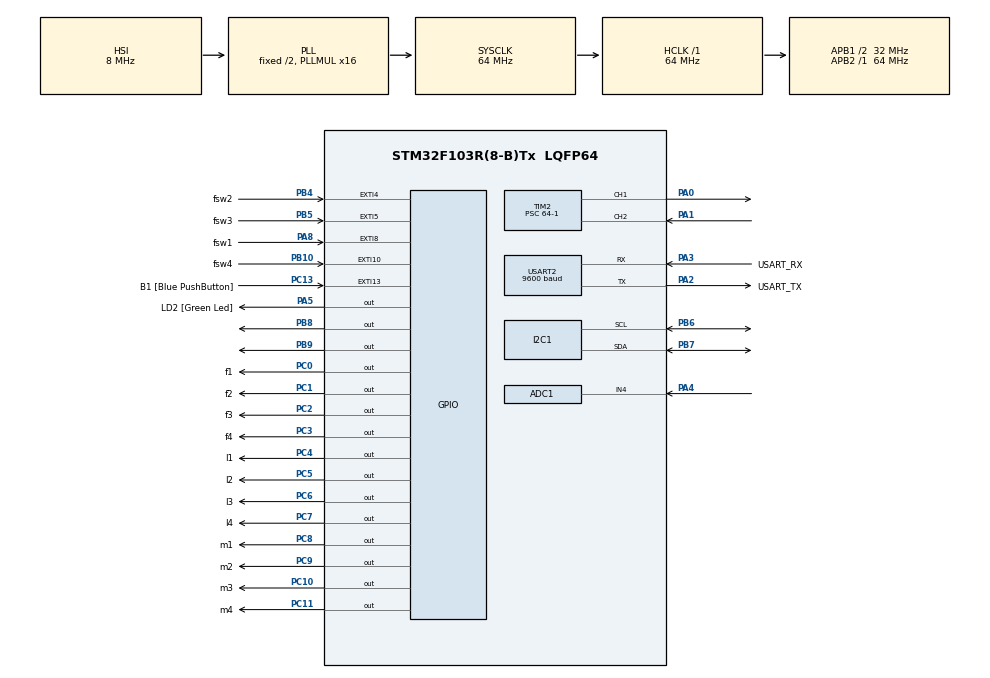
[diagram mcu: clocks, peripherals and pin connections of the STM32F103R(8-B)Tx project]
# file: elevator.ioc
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ADC1.Channel-0\#ChannelRegularConversion=ADC_CHANNEL_4
ADC1.ContinuousConvMode=ENABLE
ADC1.NbrOfConversionFlag=1
ADC1.Rank-0\#ChannelRegularConversion=1
ADC1.SamplingTime-0\#ChannelRegularConversion=ADC_SAMPLETIME_239CYCLES_5
ADC1.master=1
Mcu.Family=STM32F1
Mcu.Name=STM32F103R(8-B)Tx
Mcu.Package=LQFP64
NVIC.EXTI15_10_IRQn=true\:0\:0\:false\:false\:true\:true\:true\:true
NVIC.EXTI4_IRQn=true\:0\:0\:false\:false\:true\:true\:true\:true
NVIC.EXTI9_5_IRQn=true\:0\:0\:false\:false\:true\:true\:true\:true
NVIC.PriorityGroup=NVIC_PRIORITYGROUP_4
NVIC.TIM1_BRK_IRQn=true\:0\:0\:false\:false\:true\:true\:true\:true
NVIC.TIM1_CC_IRQn=true\:0\:0\:false\:false\:true\:true\:true\:true
NVIC.TIM1_TRG_COM_IRQn=true\:0\:0\:false\:false\:true\:true\:true\:true
NVIC.TIM1_UP_IRQn=true\:0\:0\:false\:false\:true\:true\:true\:true
NVIC.TIM2_IRQn=true\:0\:0\:false\:false\:true\:true\:true\:true
PA0-WKUP.Signal=S_TIM2_CH1_ETR
PA1.Signal=S_TIM2_CH2
PA13.GPIO_Label=TMS
PA13.Mode=Serial_Wire
PA13.Signal=SYS_JTMS-SWDIO
PA14.GPIO_Label=TCK
PA14.Mode=Serial_Wire
PA14.Signal=SYS_JTCK-SWCLK
PA2.GPIO_Label=USART_TX
PA2.GPIO_Mode=GPIO_MODE_AF_PP
PA2.GPIO_PuPd=GPIO_NOPULL
PA2.GPIO_Speed=GPIO_SPEED_FREQ_LOW
PA2.Mode=Asynchronous
PA2.Signal=USART2_TX
PA3.GPIO_Label=USART_RX
PA3.GPIO_Mode=GPIO_MODE_AF_PP
PA3.GPIO_PuPd=GPIO_NOPULL
PA3.GPIO_Speed=GPIO_SPEED_FREQ_LOW
PA3.Mode=Asynchronous
PA3.Signal=USART2_RX
PA4.Signal=ADCx_IN4
PA5.GPIO_Label=LD2 [Green Led]
PA5.GPIO_ModeDefaultOutputPP=GPIO_MODE_OUTPUT_PP
PA5.GPIO_PuPd=GPIO_NOPULL
PA5.GPIO_Speed=GPIO_SPEED_FREQ_LOW
PA5.Signal=GPIO_Output
PA8.GPIO_Label=fsw1
PA8.GPIO_ModeDefaultEXTI=GPIO_MODE_IT_FALLING
PA8.GPIO_PuPd=GPIO_NOPULL
PA8.Signal=GPXTI8
PB10.GPIO_Label=fsw4
PB10.GPIO_ModeDefaultEXTI=GPIO_MODE_IT_FALLING
PB10.GPIO_PuPd=GPIO_NOPULL
PB10.Signal=GPXTI10
PB3.GPIO_Label=SWO
PB3.Signal=SYS_JTDO-TRACESWO
PB4.GPIO_Label=fsw2
PB4.GPIO_ModeDefaultEXTI=GPIO_MODE_IT_FALLING
PB4.GPIO_PuPd=GPIO_NOPULL
PB4.Signal=GPXTI4
PB5.GPIO_Label=fsw3
PB5.GPIO_ModeDefaultEXTI=GPIO_MODE_IT_FALLING
PB5.GPIO_PuPd=GPIO_NOPULL
PB5.Signal=GPXTI5
PB6.Mode=I2C
PB6.Signal=I2C1_SCL
PB7.Mode=I2C
PB7.Signal=I2C1_SDA
PB8.Signal=GPIO_Output
PB9.Signal=GPIO_Output
PC0.GPIO_Label=f1
PC0.Signal=GPIO_Output
PC1.GPIO_Label=f2
PC1.Signal=GPIO_Output
PC10.GPIO_Label=m3
PC10.Signal=GPIO_Output
PC11.GPIO_Label=m4
PC11.Signal=GPIO_Output
PC13-TAMPER-RTC.GPIO_Label=B1 [Blue PushButton]
PC13-TAMPER-RTC.GPIO_PuPd=GPIO_NOPULL
PC13-TAMPER-RTC.Signal=GPXTI13
PC14-OSC32_IN.Mode=LSE-External-Oscillator
PC14-OSC32_IN.Signal=RCC_OSC32_IN
PC15-OSC32_OUT.Mode=LSE-External-Oscillator
PC15-OSC32_OUT.Signal=RCC_OSC32_OUT
PC2.GPIO_Label=f3
PC2.Signal=GPIO_Output
PC3.GPIO_Label=f4
PC3.Signal=GPIO_Output
PC4.GPIO_Label=l1
PC4.Signal=GPIO_Output
PC5.GPIO_Label=l2
PC5.Signal=GPIO_Output
PC6.GPIO_Label=l3
PC6.Signal=GPIO_Output
PC7.GPIO_Label=l4
PC7.Signal=GPIO_Output
PC8.GPIO_Label=m1
PC8.Signal=GPIO_Output
PC9.GPIO_Label=m2
PC9.Signal=GPIO_Output
PD0-OSC_IN.Mode=HSE-External-Clock-Source
PD0-OSC_IN.Signal=RCC_OSC_IN
PD1-OSC_OUT.Mode=HSE-External-Clock-Source
PD1-OSC_OUT.Signal=RCC_OSC_OUT
ProjectManager.HeapSize=0x200
ProjectManager.StackSize=0x400
ProjectManager.TargetToolchain=STM32CubeIDE
RCC.ADCPresc=RCC_ADCPCLK2_DIV8
RCC.AHBFreq_Value=64000000
RCC.APB1CLKDivider=RCC_HCLK_DIV2
RCC.APB1Freq_Value=32000000
RCC.APB1TimFreq_Value=64000000
RCC.APB2Freq_Value=64000000
RCC.APB2TimFreq_Value=64000000
RCC.HCLKFreq_Value=64000000
RCC.PLLMUL=RCC_PLL_MUL16
RCC.RTCClockSelection=RCC_RTCCLKSOURCE_LSE
RCC.SYSCLKFreq_VALUE=64000000
RCC.SYSCLKSource=RCC_SYSCLKSOURCE_PLLCLK
RCC.USBFreq_Value=64000000
SH.ADCx_IN4.0=ADC1_IN4,IN4
SH.S_TIM2_CH1_ETR.0=TIM2_CH1,PWM Generation1 CH1
SH.S_TIM2_CH2.0=TIM2_CH2,Input_Capture2_from_TI2
TIM1.Period=2000-1
TIM1.Prescaler=64-1
TIM2.Channel-Input_Capture2_from_TI2=TIM_CHANNEL_2
TIM2.Channel-PWM\ Generation1\ CH1=TIM_CHANNEL_1
TIM2.Period=20000-1
TIM2.Prescaler=64-1
TIM2.Pulse-PWM\ Generation1\ CH1=200-1
USART2.BaudRate=9600
USART2.VirtualMode=VM_ASYNC
VP_TIM1_VS_ClockSourceINT.Mode=Internal
VP_TIM2_VS_ClockSourceINT.Mode=Internal
board=NUCLEO-F103RB

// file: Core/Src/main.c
/* USER CODE BEGIN Header */
/**
  ******************************************************************************
  * @file           : main.c
  * @brief          : Main program body
  ******************************************************************************
  * @attention
  *
  * Copyright (c) 2022 STMicroelectronics.
  * All rights reserved.
  *
  * This software is licensed under terms that can be found in the LICENSE file
  * in the root directory of this software component.
  * If no LICENSE file comes with this software, it is provided AS-IS.
  *
  ******************************************************************************
  */
/* USER CODE END Header */
#include "main.h"

/* USER CODE BEGIN Includes */
#include <stdio.h>
#include "i2c-lcd.h"
/* USER CODE END Includes */

 ADC_HandleTypeDef hadc1;

I2C_HandleTypeDef hi2c1;

TIM_HandleTypeDef htim1;
TIM_HandleTypeDef htim2;

UART_HandleTypeDef huart2;

void SystemClock_Config(void);
static void MX_GPIO_Init(void);
static void MX_USART2_UART_Init(void);
static void MX_TIM2_Init(void);
static void MX_I2C1_Init(void);
static void MX_TIM1_Init(void);
static void MX_ADC1_Init(void);
/* USER CODE BEGIN PFP */
#ifdef __GNUC__
#define PUTCHAR_PROTOTYPE
int __io_putchar(int ch)
#else
#define PUTCHAR_PROTOTYPE
int fputc(int ch, FILE *f)
#endif
PUTCHAR_PROTOTYPE
{
  HAL_UART_Transmit(&huart2, (uint8_t *)&ch, 1, 0xFFFF);
  return ch;
}

void roll(uint8_t i);
void show_dot(uint16_t roll_d);
void ready();
/* USER CODE END PFP */

int main(void)
{

  /* MCU Configuration--------------------------------------------------------*/

  /* Reset of all peripherals, Initializes the Flash interface and the Systick. */
  HAL_Init();

  /* Configure the system clock */
  SystemClock_Config();

  /* Initialize all configured peripherals */
  MX_GPIO_Init();
  MX_USART2_UART_Init();
  MX_TIM2_Init();
  MX_I2C1_Init();
  MX_TIM1_Init();
  MX_ADC1_Init();
  /* USER CODE BEGIN 2 */
  HAL_TIM_Base_Start_IT(&htim1);
  HAL_TIM_PWM_Start(&htim2, TIM_CHANNEL_1);
  HAL_TIM_PWM_Start_IT(&htim2, TIM_CHANNEL_2);
  HAL_ADC_Start(&hadc1);

  lcd_init();
  ready();

  HAL_GPIO_WritePin(GPIOC, f1_Pin, 1);
  HAL_GPIO_WritePin(GPIOC, 0xf-f1_Pin, 0);
  HAL_GPIO_WritePin(GPIOC, l1_Pin, 1);
  HAL_GPIO_WritePin(GPIOC, 0xf0-l1_Pin, 0);
  HAL_GPIO_WritePin(GPIOB, GPIO_PIN_8,0);

  /* USER CODE END 2 */

  /* Infinite loop */
  while (1)
  {

  }
}

void SystemClock_Config(void)
{
  RCC_OscInitTypeDef RCC_OscInitStruct = {0};
  RCC_ClkInitTypeDef RCC_ClkInitStruct = {0};
  RCC_PeriphCLKInitTypeDef PeriphClkInit = {0};

  /** Initializes the RCC Oscillators according to the specified parameters
  * in the RCC_OscInitTypeDef structure.
  */
  RCC_OscInitStruct.OscillatorType = RCC_OSCILLATORTYPE_HSI;
  RCC_OscInitStruct.HSIState = RCC_HSI_ON;
  RCC_OscInitStruct.HSICalibrationValue = RCC_HSICALIBRATION_DEFAULT;
  RCC_OscInitStruct.PLL.PLLState = RCC_PLL_ON;
  RCC_OscInitStruct.PLL.PLLSource = RCC_PLLSOURCE_HSI_DIV2;
  RCC_OscInitStruct.PLL.PLLMUL = RCC_PLL_MUL16;
  if (HAL_RCC_OscConfig(&RCC_OscInitStruct) != HAL_OK)
  {
    Error_Handler();
  }

  /** Initializes the CPU, AHB and APB buses clocks
  */
  RCC_ClkInitStruct.ClockType = RCC_CLOCKTYPE_HCLK|RCC_CLOCKTYPE_SYSCLK
                              |RCC_CLOCKTYPE_PCLK1|RCC_CLOCKTYPE_PCLK2;
  RCC_ClkInitStruct.SYSCLKSource = RCC_SYSCLKSOURCE_PLLCLK;
  RCC_ClkInitStruct.AHBCLKDivider = RCC_SYSCLK_DIV1;
  RCC_ClkInitStruct.APB1CLKDivider = RCC_HCLK_DIV2;
  RCC_ClkInitStruct.APB2CLKDivider = RCC_HCLK_DIV1;

  if (HAL_RCC_ClockConfig(&RCC_ClkInitStruct, FLASH_LATENCY_2) != HAL_OK)
  {
    Error_Handler();
  }
  PeriphClkInit.PeriphClockSelection = RCC_PERIPHCLK_ADC;
  PeriphClkInit.AdcClockSelection = RCC_ADCPCLK2_DIV8;
  if (HAL_RCCEx_PeriphCLKConfig(&PeriphClkInit) != HAL_OK)
  {
    Error_Handler();
  }
}

static void MX_ADC1_Init(void)
{

  ADC_ChannelConfTypeDef sConfig = {0};

  /** Common config
  */
  hadc1.Instance = ADC1;
  hadc1.Init.ScanConvMode = ADC_SCAN_DISABLE;
  hadc1.Init.ContinuousConvMode = ENABLE;
  hadc1.Init.DiscontinuousConvMode = DISABLE;
  hadc1.Init.ExternalTrigConv = ADC_SOFTWARE_START;
  hadc1.Init.DataAlign = ADC_DATAALIGN_RIGHT;
  hadc1.Init.NbrOfConversion = 1;
  if (HAL_ADC_Init(&hadc1) != HAL_OK)
  {
    Error_Handler();
  }

  /** Configure Regular Channel
  */
  sConfig.Channel = ADC_CHANNEL_4;
  sConfig.Rank = ADC_REGULAR_RANK_1;
  sConfig.SamplingTime = ADC_SAMPLETIME_239CYCLES_5;
  if (HAL_ADC_ConfigChannel(&hadc1, &sConfig) != HAL_OK)
  {
    Error_Handler();
  }

}

static void MX_I2C1_Init(void)
{

  hi2c1.Instance = I2C1;
  hi2c1.Init.ClockSpeed = 100000;
  hi2c1.Init.DutyCycle = I2C_DUTYCYCLE_2;
  hi2c1.Init.OwnAddress1 = 0;
  hi2c1.Init.AddressingMode = I2C_ADDRESSINGMODE_7BIT;
  hi2c1.Init.DualAddressMode = I2C_DUALADDRESS_DISABLE;
  hi2c1.Init.OwnAddress2 = 0;
  hi2c1.Init.GeneralCallMode = I2C_GENERALCALL_DISABLE;
  hi2c1.Init.NoStretchMode = I2C_NOSTRETCH_DISABLE;
  if (HAL_I2C_Init(&hi2c1) != HAL_OK)
  {
    Error_Handler();
  }

}

static void MX_TIM1_Init(void)
{

  TIM_ClockConfigTypeDef sClockSourceConfig = {0};
  TIM_MasterConfigTypeDef sMasterConfig = {0};

  htim1.Instance = TIM1;
  htim1.Init.Prescaler = 64-1;
  htim1.Init.CounterMode = TIM_COUNTERMODE_UP;
  htim1.Init.Period = 2000-1;
  htim1.Init.ClockDivision = TIM_CLOCKDIVISION_DIV1;
  htim1.Init.RepetitionCounter = 0;
  htim1.Init.AutoReloadPreload = TIM_AUTORELOAD_PRELOAD_DISABLE;
  if (HAL_TIM_Base_Init(&htim1) != HAL_OK)
  {
    Error_Handler();
  }
  sClockSourceConfig.ClockSource = TIM_CLOCKSOURCE_INTERNAL;
  if (HAL_TIM_ConfigClockSource(&htim1, &sClockSourceConfig) != HAL_OK)
  {
    Error_Handler();
  }
  sMasterConfig.MasterOutputTrigger = TIM_TRGO_RESET;
  sMasterConfig.MasterSlaveMode = TIM_MASTERSLAVEMODE_DISABLE;
  if (HAL_TIMEx_MasterConfigSynchronization(&htim1, &sMasterConfig) != HAL_OK)
  {
    Error_Handler();
  }

}

static void MX_TIM2_Init(void)
{

  TIM_ClockConfigTypeDef sClockSourceConfig = {0};
  TIM_MasterConfigTypeDef sMasterConfig = {0};
  TIM_OC_InitTypeDef sConfigOC = {0};
  TIM_IC_InitTypeDef sConfigIC = {0};

  htim2.Instance = TIM2;
  htim2.Init.Prescaler = 64-1;
  htim2.Init.CounterMode = TIM_COUNTERMODE_UP;
  htim2.Init.Period = 10000-1;
  htim2.Init.ClockDivision = TIM_CLOCKDIVISION_DIV1;
  htim2.Init.AutoReloadPreload = TIM_AUTORELOAD_PRELOAD_DISABLE;
  if (HAL_TIM_Base_Init(&htim2) != HAL_OK)
  {
    Error_Handler();
  }
  sClockSourceConfig.ClockSource = TIM_CLOCKSOURCE_INTERNAL;
  if (HAL_TIM_ConfigClockSource(&htim2, &sClockSourceConfig) != HAL_OK)
  {
    Error_Handler();
  }
  if (HAL_TIM_PWM_Init(&htim2) != HAL_OK)
  {
    Error_Handler();
  }
  if (HAL_TIM_IC_Init(&htim2) != HAL_OK)
  {
    Error_Handler();
  }
  sMasterConfig.MasterOutputTrigger = TIM_TRGO_RESET;
  sMasterConfig.MasterSlaveMode = TIM_MASTERSLAVEMODE_DISABLE;
  if (HAL_TIMEx_MasterConfigSynchronization(&htim2, &sMasterConfig) != HAL_OK)
  {
    Error_Handler();
  }
  sConfigOC.OCMode = TIM_OCMODE_PWM1;
  sConfigOC.Pulse = 100-1;
  sConfigOC.OCPolarity = TIM_OCPOLARITY_HIGH;
  sConfigOC.OCFastMode = TIM_OCFAST_DISABLE;
  if (HAL_TIM_PWM_ConfigChannel(&htim2, &sConfigOC, TIM_CHANNEL_1) != HAL_OK)
  {
    Error_Handler();
  }
  sConfigIC.ICPolarity = TIM_INPUTCHANNELPOLARITY_RISING;
  sConfigIC.ICSelection = TIM_ICSELECTION_DIRECTTI;
  sConfigIC.ICPrescaler = TIM_ICPSC_DIV1;
  sConfigIC.ICFilter = 0;
  if (HAL_TIM_IC_ConfigChannel(&htim2, &sConfigIC, TIM_CHANNEL_2) != HAL_OK)
  {
    Error_Handler();
  }
  HAL_TIM_MspPostInit(&htim2);

}

static void MX_USART2_UART_Init(void)
{

  huart2.Instance = USART2;
  huart2.Init.BaudRate = 9600;
  huart2.Init.WordLength = UART_WORDLENGTH_8B;
  huart2.Init.StopBits = UART_STOPBITS_1;
  huart2.Init.Parity = UART_PARITY_NONE;
  huart2.Init.Mode = UART_MODE_TX_RX;
  huart2.Init.HwFlowCtl = UART_HWCONTROL_NONE;
  huart2.Init.OverSampling = UART_OVERSAMPLING_16;
  if (HAL_UART_Init(&huart2) != HAL_OK)
  {
    Error_Handler();
  }

}

static void MX_GPIO_Init(void)
{
  GPIO_InitTypeDef GPIO_InitStruct = {0};

  /* GPIO Ports Clock Enable */
  __HAL_RCC_GPIOC_CLK_ENABLE();
  __HAL_RCC_GPIOD_CLK_ENABLE();
  __HAL_RCC_GPIOA_CLK_ENABLE();
  __HAL_RCC_GPIOB_CLK_ENABLE();

  /*Configure GPIO pin Output Level */
  HAL_GPIO_WritePin(GPIOC, f1_Pin|f2_Pin|f3_Pin|f4_Pin
                          |l1_Pin|l2_Pin|l3_Pin|l4_Pin
                          |m1_Pin|m2_Pin|m3_Pin|m4_Pin, GPIO_PIN_RESET);

  /*Configure GPIO pin Output Level */
  HAL_GPIO_WritePin(LD2_GPIO_Port, LD2_Pin, GPIO_PIN_RESET);

  /*Configure GPIO pin Output Level */
  HAL_GPIO_WritePin(GPIOB, GPIO_PIN_8|GPIO_PIN_9, GPIO_PIN_RESET);

  /*Configure GPIO pin : B1_Pin */
  GPIO_InitStruct.Pin = B1_Pin;
  GPIO_InitStruct.Mode = GPIO_MODE_IT_RISING;
  GPIO_InitStruct.Pull = GPIO_NOPULL;
  HAL_GPIO_Init(B1_GPIO_Port, &GPIO_InitStruct);

  /*Configure GPIO pins : f1_Pin f2_Pin f3_Pin f4_Pin
                           l1_Pin l2_Pin l3_Pin l4_Pin
                           m1_Pin m2_Pin m3_Pin m4_Pin */
  GPIO_InitStruct.Pin = f1_Pin|f2_Pin|f3_Pin|f4_Pin
                          |l1_Pin|l2_Pin|l3_Pin|l4_Pin
                          |m1_Pin|m2_Pin|m3_Pin|m4_Pin;
  GPIO_InitStruct.Mode = GPIO_MODE_OUTPUT_PP;
  GPIO_InitStruct.Pull = GPIO_NOPULL;
  GPIO_InitStruct.Speed = GPIO_SPEED_FREQ_LOW;
  HAL_GPIO_Init(GPIOC, &GPIO_InitStruct);

  /*Configure GPIO pin : LD2_Pin */
  GPIO_InitStruct.Pin = LD2_Pin;
  GPIO_InitStruct.Mode = GPIO_MODE_OUTPUT_PP;
  GPIO_InitStruct.Pull = GPIO_NOPULL;
  GPIO_InitStruct.Speed = GPIO_SPEED_FREQ_LOW;
  HAL_GPIO_Init(LD2_GPIO_Port, &GPIO_InitStruct);

  /*Configure GPIO pins : fsw4_Pin fsw2_Pin fsw3_Pin */
  GPIO_InitStruct.Pin = fsw4_Pin|fsw2_Pin|fsw3_Pin;
  GPIO_InitStruct.Mode = GPIO_MODE_IT_FALLING;
  GPIO_InitStruct.Pull = GPIO_NOPULL;
  HAL_GPIO_Init(GPIOB, &GPIO_InitStruct);

  /*Configure GPIO pin : fsw1_Pin */
  GPIO_InitStruct.Pin = fsw1_Pin;
  GPIO_InitStruct.Mode = GPIO_MODE_IT_FALLING;
  GPIO_InitStruct.Pull = GPIO_NOPULL;
  HAL_GPIO_Init(fsw1_GPIO_Port, &GPIO_InitStruct);

  /*Configure GPIO pins : PB8 PB9 */
  GPIO_InitStruct.Pin = GPIO_PIN_8|GPIO_PIN_9;
  GPIO_InitStruct.Mode = GPIO_MODE_OUTPUT_PP;
  GPIO_InitStruct.Pull = GPIO_NOPULL;
  GPIO_InitStruct.Speed = GPIO_SPEED_FREQ_LOW;
  HAL_GPIO_Init(GPIOB, &GPIO_InitStruct);

  /* EXTI interrupt init*/
  HAL_NVIC_SetPriority(EXTI4_IRQn, 0, 0);
  HAL_NVIC_EnableIRQ(EXTI4_IRQn);

  HAL_NVIC_SetPriority(EXTI9_5_IRQn, 0, 0);
  HAL_NVIC_EnableIRQ(EXTI9_5_IRQn);

  HAL_NVIC_SetPriority(EXTI15_10_IRQn, 0, 0);
  HAL_NVIC_EnableIRQ(EXTI15_10_IRQn);

}

/* USER CODE BEGIN 4 */
uint8_t flo=1;
uint8_t location=1;
uint8_t roll_t=1;
uint16_t roll_d=0;
uint16_t flo_led=0x10;
uint32_t flame;
uint8_t Captureflag=0;
uint32_t IC1,IC2;
uint8_t alarm=0;
char print[10];
void HAL_GPIO_EXTI_Callback(uint16_t GPIO_Pin)
{
	if(GPIO_Pin==fsw1_Pin&&roll_d==0)
	{
		flo=1;
		HAL_GPIO_WritePin(GPIOC, f1_Pin, 1);
		HAL_GPIO_WritePin(GPIOC, 0xf-f1_Pin, 0);

	}
	if(GPIO_Pin==fsw2_Pin&&roll_d==0)
	{
		flo=2;
		HAL_GPIO_WritePin(GPIOC, f2_Pin, 1);
		HAL_GPIO_WritePin(GPIOC, 0xf-f2_Pin, 0);

	}
	if(GPIO_Pin==fsw3_Pin&&roll_d==0)
	{
		flo=3;
		HAL_GPIO_WritePin(GPIOC, f3_Pin, 1);
		HAL_GPIO_WritePin(GPIOC, 0xf-f3_Pin, 0);

	}
	if(GPIO_Pin==fsw4_Pin&&roll_d==0)
	{
		flo=4;
		HAL_GPIO_WritePin(GPIOC, f4_Pin, 1);
		HAL_GPIO_WritePin(GPIOC, 0xf-f4_Pin, 0);
	}
	/*if(GPIO_Pin==fsw4_Pin&&roll_d==0)
	{
		flo=4;
		HAL_GPIO_WritePin(GPIOC, 0xf, 1);
	}*/
}
void HAL_TIM_PeriodElapsedCallback(TIM_HandleTypeDef *htim)
{
	if(flo<location)
	{
		roll(roll_t);
		roll_t += 1;
		if(roll_t>5)
		{
			roll_t=1;
		}

		lcd_put_cur(1,0);
		lcd_send_string ("DOWN");
		show_dot(roll_d);

		roll_d+=1;
		if(roll_d==4000)
		{
			roll_d=0;
			location-=1;
			ready();
			flo_led=flo_led>>1;
			HAL_GPIO_WritePin(GPIOC, flo_led, 1);
			HAL_GPIO_WritePin(GPIOC, 0xf0-flo_led, 0);
		}
	}
	if(flo>location)
	{
		roll(roll_t);
		roll_t -= 1;
		if(roll_t<1)
		{
			roll_t=4;
		}

		lcd_put_cur(1,0);
		lcd_send_string ("UP");
		show_dot(roll_d);

		roll_d+=1;
		if(roll_d==4000)
		{
			roll_d=0;
			location+=1;
			ready();
			flo_led=flo_led<<1;
			HAL_GPIO_WritePin(GPIOC, flo_led, 1);
			HAL_GPIO_WritePin(GPIOC, 0xf0-flo_led, 0);
		}
	}
	if(flo==location)
	{
		roll(0);
	}

}

void HAL_TIM_IC_CaptureCallback(TIM_HandleTypeDef *htim)
{
	if(htim->Channel==HAL_TIM_ACTIVE_CHANNEL_2)
	{
		if(Captureflag==0)
		{
			IC1 = HAL_TIM_ReadCapturedValue(htim, TIM_CHANNEL_2);
			Captureflag=!Captureflag;
			__HAL_TIM_SET_CAPTUREPOLARITY(htim, TIM_CHANNEL_2, TIM_INPUTCHANNELPOLARITY_FALLING);
		}
		else if(Captureflag==1)
		{
			IC2 = HAL_TIM_ReadCapturedValue(htim, TIM_CHANNEL_2);
			Captureflag=!Captureflag;
			__HAL_TIM_SET_CAPTUREPOLARITY(htim, TIM_CHANNEL_2, TIM_INPUTCHANNELPOLARITY_RISING);
			if(IC2-IC1<800)
			{
				lcd_put_cur(0,8);
				lcd_send_string ("approach");
			}
			else
			{
				lcd_put_cur(0,8);
				lcd_send_string ("nothing ");
			}
		}

	}
	flame=HAL_ADC_GetValue(&hadc1);
	if(flame<3900)
	{
		location=flo;
		alarm=1;
	}
	if(alarm==1)
	{
		HAL_GPIO_TogglePin(GPIOB, GPIO_PIN_8);
		HAL_GPIO_WritePin(GPIOB, GPIO_PIN_9,1);
		lcd_put_cur(1,8);
		lcd_send_string ("escape");
	}

}
void roll(uint8_t i)
{
	if(i==1)
	{
		HAL_GPIO_WritePin(GPIOC, m1_Pin+m2_Pin, 1);
		HAL_GPIO_WritePin(GPIOC, 0xf00-m1_Pin-m2_Pin, 0);
	}
	else if(i==2)
	{
		HAL_GPIO_WritePin(GPIOC, m2_Pin+m3_Pin, 1);
		HAL_GPIO_WritePin(GPIOC, 0xf00-m2_Pin-m3_Pin, 0);
	}
	else if(i==3)
	{
		HAL_GPIO_WritePin(GPIOC, m3_Pin+m4_Pin, 1);
		HAL_GPIO_WritePin(GPIOC, 0xf00-m3_Pin-m4_Pin, 0);
	}
	else if(i==4)
	{
		HAL_GPIO_WritePin(GPIOC, m4_Pin+m1_Pin, 1);
		HAL_GPIO_WritePin(GPIOC, 0xf00-m4_Pin-m1_Pin, 0);
	}
	else
	{
		HAL_GPIO_WritePin(GPIOC, 0xf00, 0);
	}
}
void show_dot(uint16_t roll_d)
{
	if(roll_d%500==1)
	{
		lcd_send_string ("   ");
	}
	else if(roll_d%500==126)
	{
		lcd_send_string (".  ");
	}
	else if(roll_d%500==251)
	{
		lcd_send_string (".. ");
	}
	else if(roll_d%500==376)
	{
		lcd_send_string ("...");
	}
}
void ready()
{
	sprintf(print,"%dF",location);
	lcd_put_cur(0,0);
	lcd_send_string (print);
	lcd_put_cur(1,0);
	lcd_send_string ("Ready  ");
}
/* USER CODE END 4 */

void Error_Handler(void)
{
  __disable_irq();
  while (1)
  {
  }
}
